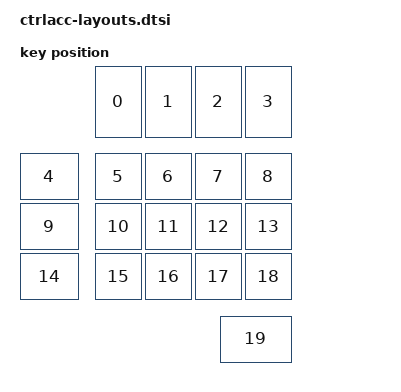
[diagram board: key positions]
#include <physical_layouts.dtsi>

/ {
    physical_layout0: physical_layout_0 {
        compatible = "zmk,physical-layout";
        display-name = "Tues Design CTRL-ACC";

        kscan = <&kscan0>;
        transform = <&default_transform>;

        keys  //                     w   h    x    y     rot    rx    ry
            = <&key_physical_attrs 100 150  150    0       0     0     0>
            , <&key_physical_attrs 100 150  250    0       0     0     0>
            , <&key_physical_attrs 100 150  350    0       0     0     0>
            , <&key_physical_attrs 100 150  450    0       0     0     0>
            , <&key_physical_attrs 125 100    0  175       0     0     0>
            , <&key_physical_attrs 100 100  150  175       0     0     0>
            , <&key_physical_attrs 100 100  250  175       0     0     0>
            , <&key_physical_attrs 100 100  350  175       0     0     0>
            , <&key_physical_attrs 100 100  450  175       0     0     0>
            , <&key_physical_attrs 125 100    0  275       0     0     0>
            , <&key_physical_attrs 100 100  150  275       0     0     0>
            , <&key_physical_attrs 100 100  250  275       0     0     0>
            , <&key_physical_attrs 100 100  350  275       0     0     0>
            , <&key_physical_attrs 100 100  450  275       0     0     0>
            , <&key_physical_attrs 125 100    0  375       0     0     0>
            , <&key_physical_attrs 100 100  150  375       0     0     0>
            , <&key_physical_attrs 100 100  250  375       0     0     0>
            , <&key_physical_attrs 100 100  350  375       0     0     0>
            , <&key_physical_attrs 100 100  450  375       0     0     0>
            , <&key_physical_attrs 150 100  400  500       0     0     0>
            ;
    };
};
